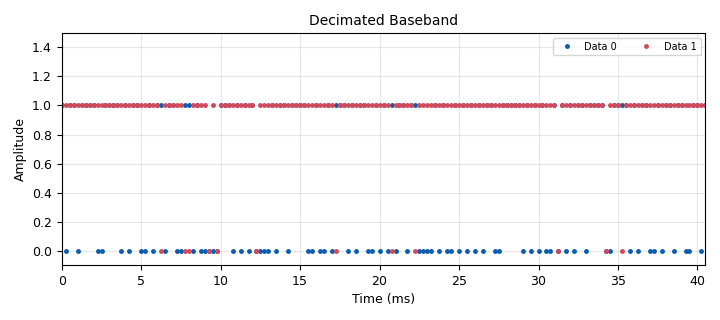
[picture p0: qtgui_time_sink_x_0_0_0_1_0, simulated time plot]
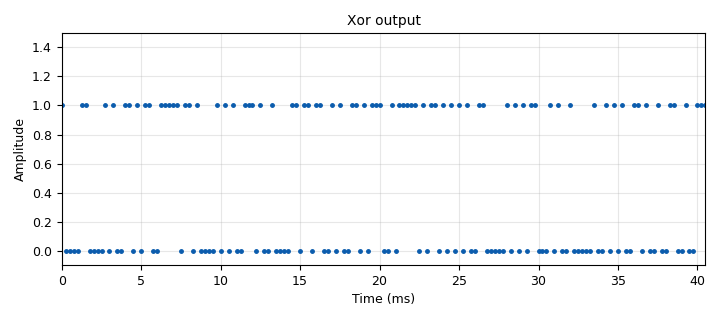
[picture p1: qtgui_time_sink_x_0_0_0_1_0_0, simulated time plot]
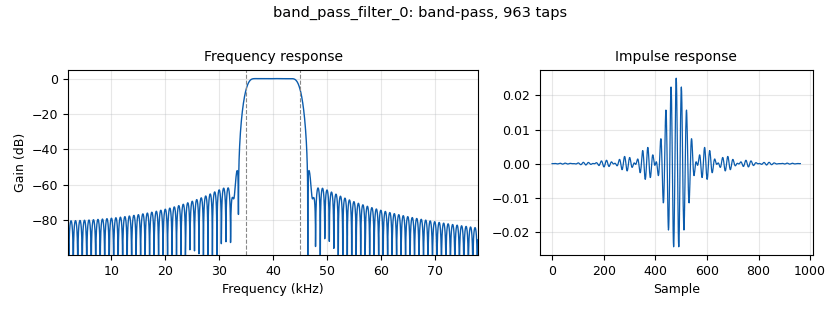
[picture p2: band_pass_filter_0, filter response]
options:
  parameters:
    author: parallels
    generate_options: qt_gui
    id: ook_tx
    output_language: python
    title: OOK  TX RX
  states: {}

blocks:
- name: center_freq
  id: variable
  parameters:
    value: 40e3
  states: {}
- name: filter_cutoff
  id: variable
  parameters:
    value: 50e3
  states: {}
- name: filter_transition
  id: variable
  parameters:
    value: 1e3
  states: {}
- name: freq
  id: variable_qtgui_entry
  parameters:
    type: real
    value: 40e3
  states: {state: disabled}
- name: gain
  id: variable
  parameters:
    value: 1e3
  states: {}
- name: noise_level
  id: variable_qtgui_range
  parameters:
    start: '10e-4'
    step: '1'
    stop: '10000'
    value: '2000'
  states: {}
- name: samp_rate
  id: variable
  parameters:
    value: 8e5
  states: {}
- name: threshold
  id: variable_qtgui_entry
  parameters:
    type: real
    value: '500'
  states: {}
- name: working_samp_rate
  id: variable
  parameters:
    value: 400e3
  states: {}
- name: analog_const_source_x_0
  id: analog_const_source_x
  parameters:
    const: '0'
    type: float
  states: {}
- name: analog_const_source_x_1
  id: analog_const_source_x
  parameters:
    const: noise_level
    type: float
  states: {}
- name: analog_const_source_x_1_0
  id: analog_const_source_x
  parameters:
    const: '692'
    type: float
  states: {}
- name: analog_noise_source_x_0
  id: analog_noise_source_x
  parameters:
    amp: noise_level
    noise_type: analog.GR_GAUSSIAN
    seed: '0'
    type: complex
  states: {}
- name: analog_sig_source_x_0
  id: analog_sig_source_x
  parameters:
    amp: gain
    freq: 40e3
    offset: '0'
    phase: '0'
    samp_rate: samp_rate
    type: complex
    waveform: analog.GR_COS_WAVE
  states: {}
- name: band_pass_filter_0
  id: band_pass_filter
  parameters:
    decim: '1'
    gain: '1'
    high_cutoff_freq: 45e3
    low_cutoff_freq: 35e3
    samp_rate: samp_rate
    type: fir_filter_ccf
    width: 2e3
    win: window.WIN_HAMMING
  states: {}
- name: blocks_add_const_vxx_0
  id: blocks_add_const_vxx
  parameters:
    const: '-1*threshold'
    type: float
  states: {}
- name: blocks_add_xx_0
  id: blocks_add_xx
  parameters:
    type: complex
  states: {}
- name: blocks_complex_to_mag_0
  id: blocks_complex_to_mag
  parameters: {}
  states: {}
- name: blocks_divide_xx_0
  id: blocks_divide_xx
  parameters:
    type: float
  states: {}
- name: blocks_float_to_complex_0
  id: blocks_float_to_complex
  parameters: {}
  states: {}
- name: blocks_float_to_uchar_1
  id: blocks_float_to_uchar
  parameters: {}
  states: {}
- name: blocks_float_to_uchar_1_0
  id: blocks_float_to_uchar
  parameters: {}
  states: {}
- name: blocks_integrate_xx_0
  id: blocks_integrate_xx
  parameters:
    decim: '1000000'
    type: float
  states: {}
- name: blocks_keep_one_in_n_0
  id: blocks_keep_one_in_n
  parameters:
    n: '800'
    type: float
  states: {}
- name: blocks_multiply_xx_0
  id: blocks_multiply_xx
  parameters:
    type: complex
  states: {}
- name: blocks_nlog10_ff_0
  id: blocks_nlog10_ff
  parameters:
    k: '0'
    n: '20'
  states: {}
- name: blocks_repeat_0
  id: blocks_repeat
  parameters:
    interp: '800'
    type: float
  states: {}
- name: blocks_rms_xx_0
  id: blocks_rms_xx
  parameters:
    alpha: '0.0001'
    type: complex
  states: {}
- name: blocks_throttle_0
  id: blocks_throttle
  parameters:
    samples_per_second: samp_rate
    type: complex
  states: {}
- name: blocks_uchar_to_float_0
  id: blocks_uchar_to_float
  parameters: {}
  states: {}
- name: blocks_uchar_to_float_1
  id: blocks_uchar_to_float
  parameters: {}
  states: {}
- name: blocks_vector_source_x_0
  id: blocks_vector_source_x
  parameters:
    repeat: 'False'
    type: float
    vector: (0,1,1,1,0,1,0,1,0,1,0,0,0,0,1,0,1,1,0,1,1,1,1,0,0,1,0,0,1,0,1,1,1,0,1,0,1,1,0,0,1,0,1,0,1,0,1,1,0,1,1,0,0,0,0,1,0,1,0,0,1,0,1,0,1,0,1,0,1,1,0,0,1,1,1,1,1,0,1,0,1,0,1,0,0,1,0,1,1,1,0,1,0,1,0,1,0,0,0,0,1,0,1,1,0,1,1,1,1,0,0,1,0,0,1,0,1,1,1,0,1,0,1,1,0,0,1,0,1,0,1,0,1,1,0,1,1,0,0,0,0,1,0,1,0,0,1,0,1,0,1,0,1,0,1,1,0,0,1,1,1,1,1,0,1,0,1,0,1,0,0,1,0,1,0,1,0,1,1,0,1,1,1,1,0,0,1,1,1,1,0,1,0,1,1,0,0,1,0,1,1,0,1,1,0,0,1,1,0,1,0,0,0,0,0,1,1,1,0,1,0,1,0,1,0,0,0,0,1,0,1,1,0,1,1,1,1,0,0,1,0,0,1,0,1,1,1,0,1,0,1,1,0,0,1,0,1,0,1,0,1,1,0,1,1,0,0,0,0,1,0,1,0,0,1,0,1,0,1,0,1,0,1,1,0,0,1,1,1,1,1,0,1,0,1,0,1,0,0,1,0,1,0,1,0,1,1,0,1,1,1,1,0,0,1,1,1,1,0,1,0,1,1,0,0,1,0,1,1,0,1,1,0,0,1,1,0,1,0,0,0,0,0,1,1,1,0,1,0,1,0,1,0,0,0,0,1,0,1,1,0,1,1,1,1,0,0,1,0,0,1,0,1,1,1,0,1,0,1,1,0,0,1,0,1,0,1,0,1,1,0,1,1,0,0,0,0,1,0,1,0,0,1,0,1,0,1,0,1,0,1,1,0,0,1,1,1,1,1,0,1,0,1,0,1,0,0,1,0,1,0,1,0,1,1,0,1,1,1,1,0,0,1,1,1,1,0,1,0,1,1,0,0,1,0,1,1,0,1,1,0,0,1,1,0,1,0,0,0,0,0,1,1,1,0,1,0,1,0,1,0,0,0,0,1,0,1,1,0,1,1,1,1,0,0,1,0,0,1,0,1,1,1,0,1,0,1,1,0,0,1,0,1,0,1,0,1,1,0,1,1,0,0,0,0,1,0,1,0,0,1,0,1,0,1,0,1,0,1,1,0,0,1,1,1,1,1,0,1,0,1,0,1,0,0,1,0,1,0,1,0,1,1,0,1,1,1,1,0,0,1,1,1,1,0,1,0,1,1,0,0,1,0,1,1,0,1,1,0,0,1,1,0,1,0,0,0,0,0,1,1,1,0,1,0,1,0,1,0,0,0,0,1,0,1,1,0,1,1,1,1,0,0,1,0,0,1,0,1,1,1,0,1,0,1,1,0,0,1,0,1,0,1,0,1,1,0,1,1,0,0,0,0,1,0,1,0,0,1,0,1,0,1,0,1,0,1,1,0,0,1,1,1,1,1,0,1,0,1,0,1,0,0,1,0,1,1,1,0,1,0,1,0,1,0,0,0,0,1,0,1,1,0,1,1,1,1,0,0,1,0,0,1,0,1,1,1,0,1,0,1,1,0,0,1,0,1,0,1,0,1,1,0,1,1,0,0,0,0,1,0,1,0,0,1,0,1,0,1,0,1,0,1,1,0,0,1,1,1,1,1,0,1,0,1,0,1,0,0,1,0,1,0,1,0,1,1,0,1,1,1,1,0,0,1,1,1,1,0,1,0,1,1,0,0,1,0,1,1,0,1,1,0,0,1,1,0,1,0,0,0,0,0,1,1,1,0,1,0,1,0,1,0,0,0,0,1,0,1,1,0,1,1,1,1,0,0,1,0,0,1,0,1,1,1,0,1,0,1,1,0,0,1,0,1,0,1,0,1,1,0,1,1,0,0,0,0,1,0,1,0,0,1,0,1,0,1,0,1,0,1,1,0,0,1,1,1,1,1,0,1,0,1,0,1,0,0,1,0,1,0,1,0,1,1,0,1,1,1,1,0,0,1,1,1,1,0,1,0,1,1,0,0,1,0,1,1,0,1,1,0,0,1,1,0,1,0,0,0,0,0,1,1,1,0,1,0,1,0,1,0,0,0,0,1,0,1,1,0,1,1,1,1,0,0,1,0,0,1,0,1,1,1,0,1,0,1,1,0,0,1,0,1,0,1,0,1,1,0,1,1,0,0,0,0,1,0,1,0,0,1,0,1,0,1,0,1,0,1,1,0,0,1,1,1,1,1,0,1,0,1,0,1,0,0,1,0,1,0,1,0,1,1,0,1,1,1,1,0,0,1,1,1,1,0,1,0,1,1,0,0,1,0,1,1,0,1,1,0,0,1,1,0,1,0,0,0,0,0,1,1,1,0,1,0,1,0,1,0,0,0,0,1,0,1,1,0,1,1,1,1,0,0,1,0,0,1,0,1,1,1,0,1,0,1,1,0,0,1,0,1,0,1,0,1,1,0,1,1,0,0,0,0,1,0,1,0,0,1,0,1,0,1,0,1,0,1,1,0,0,1,1,1,1,1,0,1,0,1,0,1,0,0,1,0,1,0,1,0,1,1,0,1,1,1,1,0,0,1,1,1,1,0,1,0,1,1,0,0,1,0,1,1,0,1,1,0,0,1,1,0,1,0,0,0,0)
  states: {}
- name: blocks_xor_xx_0
  id: blocks_xor_xx
  parameters:
    type: byte
  states: {}
- name: digital_binary_slicer_fb_0
  id: digital_binary_slicer_fb
  parameters: {}
  states: {}
- name: fec_ber_bf_0
  id: fec_ber_bf
  parameters:
    test_mode: 'False'
  states: {}
- name: qtgui_number_sink_0
  id: qtgui_number_sink
  parameters:
    graph_type: qtgui.NUM_GRAPH_NONE
    max: '200'
    name: '"BER as to power of 10"'
    type: float
  states: {}
- name: qtgui_number_sink_0_0
  id: qtgui_number_sink
  parameters:
    graph_type: qtgui.NUM_GRAPH_NONE
    max: '200'
    min: '-100'
    name: '"SNR (dB)"'
    type: float
  states: {}
- name: qtgui_number_sink_0_0_0
  id: qtgui_number_sink
  parameters:
    graph_type: qtgui.NUM_GRAPH_NONE
    max: '200'
    min: '-100'
    name: '"RMS Signal"'
    type: float
  states: {}
- name: qtgui_number_sink_0_0_1
  id: qtgui_number_sink
  parameters:
    graph_type: qtgui.NUM_GRAPH_NONE
    max: '200'
    min: '-100'
    name: '"Xor count"'
    type: float
  states: {}
- name: qtgui_time_sink_x_0
  id: qtgui_time_sink_x
  parameters:
    ctrlpanel: 'True'
    name: '"Digital Input"'
    size: '16384'
    srate: samp_rate
    tr_delay: '100e-6'
    tr_level: '0.5'
    type: float
    ymin: '-0.1'
  states: {state: disabled}
- name: qtgui_time_sink_x_0_0
  id: qtgui_time_sink_x
  parameters:
    ctrlpanel: 'True'
    name: '"OOK Modulated Signal"'
    size: '16384'
    srate: samp_rate
    tr_delay: '100e-6'
    tr_level: '500'
    type: complex
    ymax: '1100'
    ymin: '-1100'
  states: {state: disabled}
- name: qtgui_time_sink_x_0_0_0
  id: qtgui_time_sink_x
  parameters:
    ctrlpanel: 'True'
    label1: ''
    name: '"Baseband Output"'
    size: '16384'
    srate: samp_rate
    tr_delay: '1e-3'
    tr_level: '500'
    tr_mode: qtgui.TRIG_MODE_AUTO
    type: float
    ymax: '1200'
    ymin: '-10'
  states: {state: disabled}
- name: qtgui_time_sink_x_0_0_0_1
  id: qtgui_time_sink_x
  parameters:
    ctrlpanel: 'True'
    label1: ''
    marker1: '7'
    name: '"Clean Baseband"'
    size: '16384'
    srate: samp_rate
    style1: '0'
    tr_delay: '1e-3'
    tr_level: '0.5'
    tr_mode: qtgui.TRIG_MODE_AUTO
    type: float
  states: {state: disabled}
- name: qtgui_time_sink_x_0_0_0_1_0
  id: qtgui_time_sink_x
  parameters:
    ctrlpanel: 'True'
    label1: ''
    label2: ''
    marker1: '0'
    marker2: '7'
    name: '"Decimated Baseband"'
    nconnections: '2'
    size: int(16384/100)
    srate: 1/0.25e-3
    style1: '0'
    style2: '0'
    tr_delay: '1e-3'
    tr_level: '0.5'
    tr_mode: qtgui.TRIG_MODE_AUTO
    type: float
    width2: '0'
    ymax: '1.5'
    ymin: '-0.1'
  states: {}
- name: qtgui_time_sink_x_0_0_0_1_0_0
  id: qtgui_time_sink_x
  parameters:
    ctrlpanel: 'True'
    label1: ''
    marker1: '0'
    name: '"Xor output"'
    size: int(16384/100)
    srate: 1/0.25e-3
    style1: '0'
    tr_delay: '1e-3'
    tr_level: '0.5'
    tr_mode: qtgui.TRIG_MODE_AUTO
    type: float
    ymax: '1.5'
    ymin: '-0.1'
  states: {}

connections:
- [analog_const_source_x_0, '0', blocks_float_to_complex_0, '1']
- [analog_const_source_x_1, '0', blocks_divide_xx_0, '1']
- [analog_const_source_x_1_0, '0', blocks_divide_xx_0, '0']
- [analog_noise_source_x_0, '0', blocks_add_xx_0, '1']
- [analog_sig_source_x_0, '0', blocks_throttle_0, '0']
- [band_pass_filter_0, '0', blocks_add_xx_0, '0']
- [band_pass_filter_0, '0', blocks_rms_xx_0, '0']
- [blocks_add_const_vxx_0, '0', digital_binary_slicer_fb_0, '0']
- [blocks_add_xx_0, '0', blocks_complex_to_mag_0, '0']
- [blocks_complex_to_mag_0, '0', blocks_add_const_vxx_0, '0']
- [blocks_complex_to_mag_0, '0', qtgui_time_sink_x_0_0_0, '0']
- [blocks_divide_xx_0, '0', blocks_nlog10_ff_0, '0']
- [blocks_float_to_complex_0, '0', blocks_multiply_xx_0, '0']
- [blocks_float_to_uchar_1, '0', blocks_xor_xx_0, '0']
- [blocks_float_to_uchar_1, '0', fec_ber_bf_0, '0']
- [blocks_float_to_uchar_1_0, '0', blocks_xor_xx_0, '1']
- [blocks_float_to_uchar_1_0, '0', fec_ber_bf_0, '1']
- [blocks_integrate_xx_0, '0', qtgui_number_sink_0_0_1, '0']
- [blocks_keep_one_in_n_0, '0', blocks_float_to_uchar_1, '0']
- [blocks_keep_one_in_n_0, '0', qtgui_time_sink_x_0_0_0_1_0, '1']
- [blocks_multiply_xx_0, '0', band_pass_filter_0, '0']
- [blocks_multiply_xx_0, '0', qtgui_time_sink_x_0_0, '0']
- [blocks_nlog10_ff_0, '0', qtgui_number_sink_0_0, '0']
- [blocks_repeat_0, '0', blocks_float_to_complex_0, '0']
- [blocks_repeat_0, '0', qtgui_time_sink_x_0, '0']
- [blocks_rms_xx_0, '0', qtgui_number_sink_0_0_0, '0']
- [blocks_throttle_0, '0', blocks_multiply_xx_0, '1']
- [blocks_uchar_to_float_0, '0', blocks_keep_one_in_n_0, '0']
- [blocks_uchar_to_float_0, '0', qtgui_time_sink_x_0_0_0_1, '0']
- [blocks_uchar_to_float_1, '0', blocks_integrate_xx_0, '0']
- [blocks_uchar_to_float_1, '0', qtgui_time_sink_x_0_0_0_1_0_0, '0']
- [blocks_vector_source_x_0, '0', blocks_float_to_uchar_1_0, '0']
- [blocks_vector_source_x_0, '0', blocks_repeat_0, '0']
- [blocks_vector_source_x_0, '0', qtgui_time_sink_x_0_0_0_1_0, '0']
- [blocks_xor_xx_0, '0', blocks_uchar_to_float_1, '0']
- [digital_binary_slicer_fb_0, '0', blocks_uchar_to_float_0, '0']
- [fec_ber_bf_0, '0', qtgui_number_sink_0, '0']

metadata:
  file_format: 1
